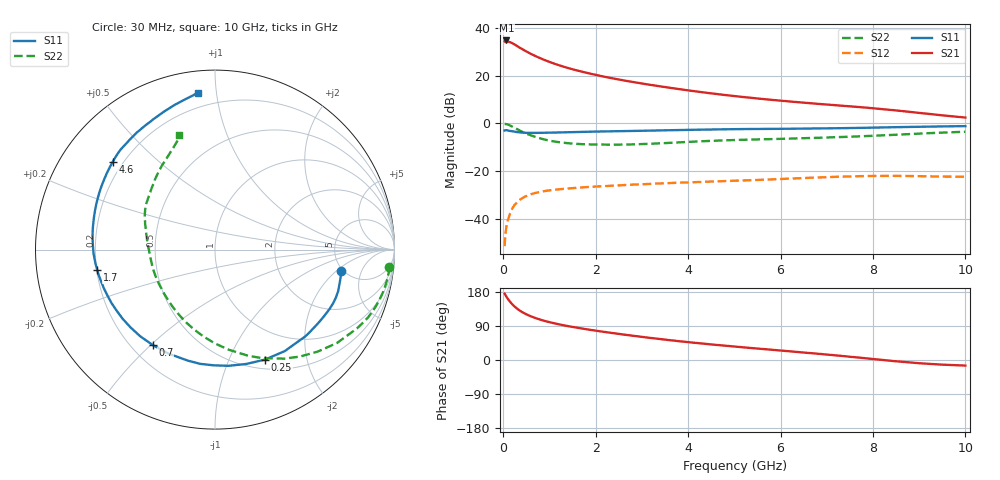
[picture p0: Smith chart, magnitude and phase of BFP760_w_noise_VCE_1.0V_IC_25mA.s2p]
! Infineon Technologies  Discrete & RF Semiconductors
! BFP760
! VCE =  1.0 V,  IC =  25 mA
! Common Emitter S-Parameters:  Nov 2012
# GHz  S  MA  R  50
!  f  S11  S21  S12  S22
! GHz  MAG  ANG  MAG  ANG  MAG  ANG  MAG  ANG
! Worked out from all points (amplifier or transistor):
!   99 points, 30 MHz to 10 GHz, reference 50 ohm
!   highest |S21| = 34.8 dB at 70 MHz (marker M1)
!   |S21| within 3 dB of that: start of sweep to 354.4 MHz
!   unconditionally stable (mu >= 1): 4.315 GHz to end of sweep
!   at 350 MHz: K = 0.23, MSG = 32.0 dB, |S12| = -32.1 dB
!   at 3.5 GHz: K = 0.91, MSG = 20.1 dB, |S12| = -25.0 dB
!   at 10 GHz: K = 1.14, MAG = 10.1 dB, |S12| = -22.3 dB
!   lowest NFmin = 0.68 dB at 900 MHz
!   S11 on the Smith chart (normalised r, x): 30 MHz: 4.78, -2.33; 250 MHz: 0.61, -1.37; 700 MHz: 0.28, -0.51; 1.7 GHz: 0.20, -0.08; 4.6 GHz: 0.16, +0.36; 10 GHz: 0.11, +0.89
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0.03  0.7122 -9.7  52.37 175.1  0.0027 82.8  0.977 -5.7
0.04  0.7168 -12.6  53.09 173.4  0.0038 84.6  0.9759 -7.7
0.05  0.7195 -15.3  54.33 170.7  0.0051 93.2  0.9743 -9.6
0.07  0.7246 -21.6  54.71 166.8  0.0071 78.1  0.9665 -13.9
0.1  0.7136 -30.3  52.91 161.4  0.0095 76.9  0.9484 -19.9
0.15  0.6981 -43.7  50.44 153.4  0.0133 71.2  0.9044 -29.1
0.2  0.6862 -55.5  47.58 146.5  0.0168 66.4  0.8561 -37.4
0.25  0.6732 -65.5  44.87 140.7  0.02 61.8  0.8065 -44.8
0.35  0.6518 -83.4  38.94 131.0  0.0248 54.8  0.7195 -57.6
0.45  0.6419 -97.3  34.29 123.7  0.0287 49.5  0.6471 -68.3
0.6  0.635 -114.2  28.68 115.2  0.0331 43.7  0.5629 -82.2
0.7  0.6349 -123.2  25.71 110.6  0.0352 40.6  0.5211 -90.4
0.9  0.6399 -137.4  21.22 103.0  0.0385 35.9  0.46 -104.7
1.1  0.6452 -148.3  17.95 97.0  0.0409 32.7  0.4205 -116.8
1.7  0.6659 -170.3  12.17 83.2  0.0458 28.1  0.3687 -144.0
2.4  0.6874 172.9  8.685 70.6  0.05 25.6  0.3611 -166.2
3.4  0.7157 155.0  5.981 55.2  0.0556 23.5  0.3846 170.7
4.6  0.7509 139.5  4.159 40.0  0.0614 21.3  0.4362 153.6
5.1  0.7621 135.1  3.663 34.5  0.0638 20.5  0.4533 148.7
6.7  0.7853 123.2  2.629 17.7  0.0734 16.7  0.4982 134.2
8.5  0.837 105.6  1.876 -3.4  0.08 6.6  0.5809 117.0
10  0.8797 96.3  1.33 -14.7  0.0767 2.8  0.6713 107.3
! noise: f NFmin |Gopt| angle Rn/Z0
0.9  0.68  0.13  -170  0.1
1.8  0.74  0.15  -159  0.07
2.4  0.78  0.16  -149  0.08
3.5  0.91  0.17  -140  0.09
5.5  1.12  0.26  -110  0.19
8  1.42  0.38  -78  0.37
